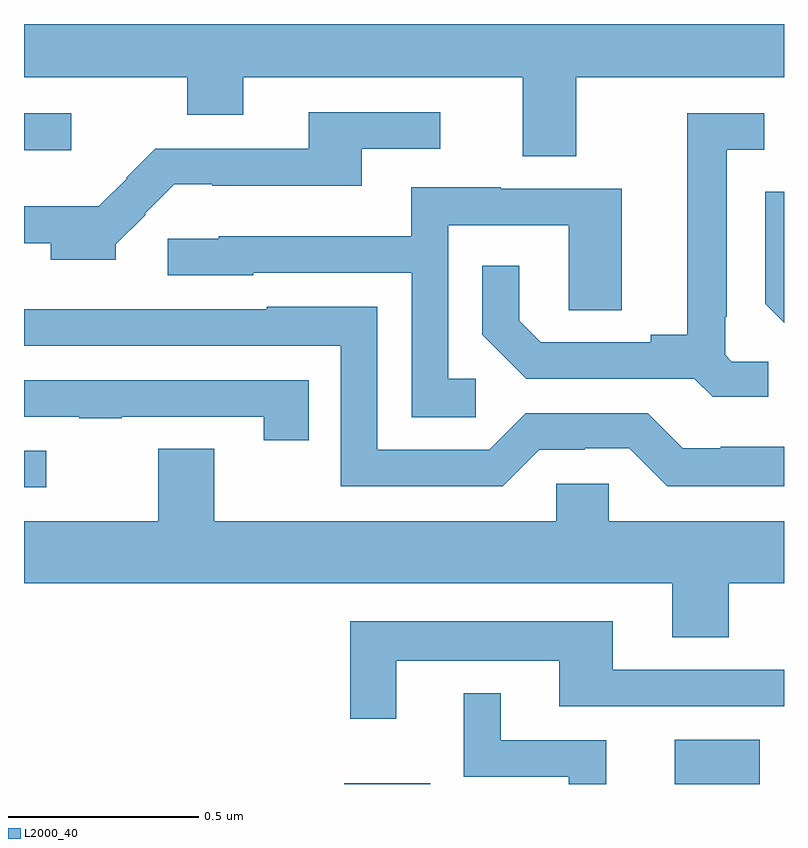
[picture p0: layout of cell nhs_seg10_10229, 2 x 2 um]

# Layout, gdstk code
import gdstk
lib = gdstk.Library(unit=1e-6, precision=1e-09)
def R(c, l, rs):  # rectangles x0, y0, x1, y1
    for r in rs: c.add(gdstk.rectangle(r[:2], r[2:], *l))
def P(c, l, *ps):  # polygons
    for p in ps: c.add(gdstk.Polygon(p, *l))
L2000_40 = (2000, 40)

nhs_seg10_10229 = lib.new_cell('nhs_seg10_10229')
R(nhs_seg10_10229, L2000_40, [(240.843,1254.5,241.069,1254.502), (241.712,1254.5,241.936,1254.616), (240,1255.281,240.058,1255.377), (240,1256.168,240.124,1256.265)])
P(nhs_seg10_10229, L2000_40, [(241.453,1256.36),(242,1256.36),(242,1256.5),(240,1256.5),(240,1256.36),(240.43,1256.36),(240.43,1256.261),(240.577,1256.261),(240.577,1256.36),(241.313,1256.36),(241.313,1256.152),(241.453,1256.152)],
  [(240.242,1255.92),(240.321,1255.998),(240.318,1256.001),(240.395,1256.078),(240.496,1256.078),(240.496,1256.075),(240.889,1256.075),(240.889,1256.172),(241.096,1256.172),(241.096,1256.268),(240.749,1256.268),(240.749,1256.172),(240.345,1256.172),(240.269,1256.095),(240.271,1256.093),(240.197,1256.02),(240,1256.02),(240,1255.923),(240.071,1255.923),(240.071,1255.88),(240.242,1255.88)],
  [(241.958,1255.611),(241.863,1255.611),(241.845,1255.629),(241.845,1255.729),(241.849,1255.729),(241.849,1256.169),(241.948,1256.169),(241.948,1256.265),(241.745,1256.265),(241.745,1255.682),(241.649,1255.682),(241.649,1255.662),(241.36,1255.662),(241.303,1255.719),(241.303,1255.864),(241.206,1255.864),(241.206,1255.682),(241.322,1255.566),(241.764,1255.566),(241.812,1255.519),(241.958,1255.519)],
  [(241.189,1255.566),(241.116,1255.566),(241.116,1255.971),(241.434,1255.971),(241.434,1255.747),(241.573,1255.747),(241.573,1256.067),(241.255,1256.067),(241.255,1256.071),(241.019,1256.071),(241.019,1255.942),(240.513,1255.942),(240.513,1255.935),(240.378,1255.935),(240.378,1255.839),(240.603,1255.839),(240.603,1255.845),(241.02,1255.845),(241.02,1255.465),(241.189,1255.465)],
  [(242,1256.059),(241.95,1256.059),(241.95,1255.764),(242,1255.714)],
  [(242,1255.387),(241.834,1255.387),(241.834,1255.383),(241.734,1255.383),(241.641,1255.476),(241.32,1255.476),(241.224,1255.38),(240.93,1255.38),(240.93,1255.756),(240.639,1255.756),(240.639,1255.749),(240.207,1255.749),(240.207,1255.75),(240,1255.75),(240,1255.653),(240.834,1255.653),(240.834,1255.284),(241.26,1255.284),(241.356,1255.38),(241.476,1255.38),(241.476,1255.383),(241.593,1255.383),(241.693,1255.283),(242,1255.283)],
  [(240.749,1255.563),(240,1255.563),(240,1255.467),(240.145,1255.467),(240.145,1255.462),(240.257,1255.462),(240.257,1255.467),(240.631,1255.467),(240.631,1255.404),(240.749,1255.404)],
  [(241.854,1255.028),(242,1255.028),(242,1255.192),(241.539,1255.192),(241.539,1255.29),(241.401,1255.29),(241.401,1255.192),(240.501,1255.192),(240.501,1255.382),(240.353,1255.382),(240.353,1255.192),(240,1255.192),(240,1255.028),(241.706,1255.028),(241.706,1254.886),(241.854,1254.886)],
  [(240.979,1254.824),(241.409,1254.824),(241.409,1254.705),(242,1254.705),(242,1254.801),(241.549,1254.801),(241.549,1254.928),(240.858,1254.928),(240.858,1254.672),(240.979,1254.672)],
  [(241.532,1254.615),(241.255,1254.615),(241.255,1254.739),(241.157,1254.739),(241.157,1254.519),(241.434,1254.519),(241.434,1254.5),(241.532,1254.5)])

lib.write_gds('nhs_seg10_10229.gds')
